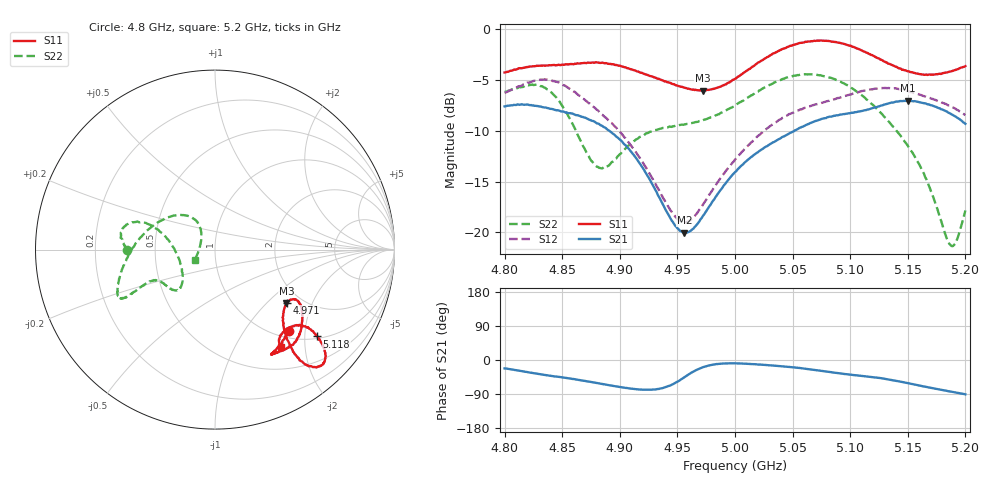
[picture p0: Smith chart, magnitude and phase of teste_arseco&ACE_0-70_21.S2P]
! Network Analyzer HP8722D
! Hewlett-Packard
! Data name: Linha & Wilkinson
! Saver's name: Rodrigo Anjos
! Comments: Teste da utilização de aquisição
! continua pelo VNA HP8722D
! Time and date: 8/5/2025 12:56
!  Frequency  S11  S21  S12  S22
# HZ  S  MA R 50
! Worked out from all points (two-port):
!   401 points, 4.8 GHz to 5.2 GHz, reference 50 ohm
!   highest |S21| = -7.06 dB at 5.15 GHz (marker M1); lowest = -20.0 dB at 4.956 GHz (marker M2)
!   |S21| within 3 dB of the highest: start of sweep to 4.891 GHz; 5.051 GHz to end of sweep
!   lowest |S11| = -6.1 dB at 4.972 GHz (marker M3), VSWR 2.98, Z = 83.3 - j66.1 ohm
!   |S11| at or under -10 dB: nowhere
!   |S22| runs from -21.4 to -4.4 dB; largest |S21 - S12| = 0.95
!   S11 on the Smith chart (normalised r, x): 4.8 GHz: 1.14, -1.64; 4.971 GHz: 1.68, -1.32; 5.118 GHz: 1.05, -2.30; 5.2 GHz: 0.82, -1.57
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4.8e9  0.6113 -47.6  0.4162 -22.2  0.4871 -175.8  0.491 -179.8
4.822e9  0.6541 -59.0  0.4218 -33.0  0.5464 176.4  0.531 171.1
4.837e9  0.6619 -61.6  0.4084 -40.4  0.5639 167.5  0.5045 163.3
4.851e9  0.6661 -59.9  0.393 -46.3  0.529 158.7  0.4111 158.9
4.867e9  0.6787 -54.9  0.37 -54.0  0.4589 150.9  0.2745 167.1
4.885e9  0.683 -48.9  0.333 -63.3  0.3779 144.5  0.2067 -160.2
4.909e9  0.6356 -40.5  0.2526 -75.2  0.2708 137.9  0.2705 -133.4
4.934e9  0.5686 -32.9  0.1494 -76.4  0.1616 141.2  0.322 -135.5
4.956e9  0.5146 -32.5  0.0995 -45.6  0.112 172.7  0.3393 -144.4
4.971e9  0.4975 -36.5  0.1175 -20.6  0.1338 -162.1  0.3559 -150.2
4.972e9  0.4973 -36.9  0.1201 -19.2  0.1365 -160.9  0.3554 -150.6
5e9  0.5686 -47.9  0.1978 -8.9  0.2281 -146.7  0.4215 -153.9
5.038e9  0.7807 -52.4  0.2869 -15.9  0.3564 -147.8  0.5578 -151.8
5.067e9  0.8705 -48.4  0.3475 -25.3  0.4211 -154.3  0.5989 -154.9
5.096e9  0.8394 -43.0  0.3826 -37.2  0.4691 -162.6  0.5341 -167.0
5.118e9  0.7455 -40.5  0.4055 -44.5  0.5046 -173.0  0.4309 173.5
5.134e9  0.6738 -40.2  0.4319 -51.6  0.5122 177.4  0.3481 153.4
5.15e9  0.6199 -42.7  0.4436 -61.2  0.4958 168.2  0.2668 133.9
5.166e9  0.5971 -48.4  0.4291 -71.0  0.4634 161.1  0.183 122.4
5.187e9  0.617 -54.7  0.3839 -83.4  0.4174 153.8  0.08665 158.7
5.192e9  0.632 -55.4  0.369 -85.9  0.4026 152.1  0.09031 -177.7
5.2e9  0.6567 -55.7  0.3417 -90.6  0.3773 149.8  0.1282 -152.0
